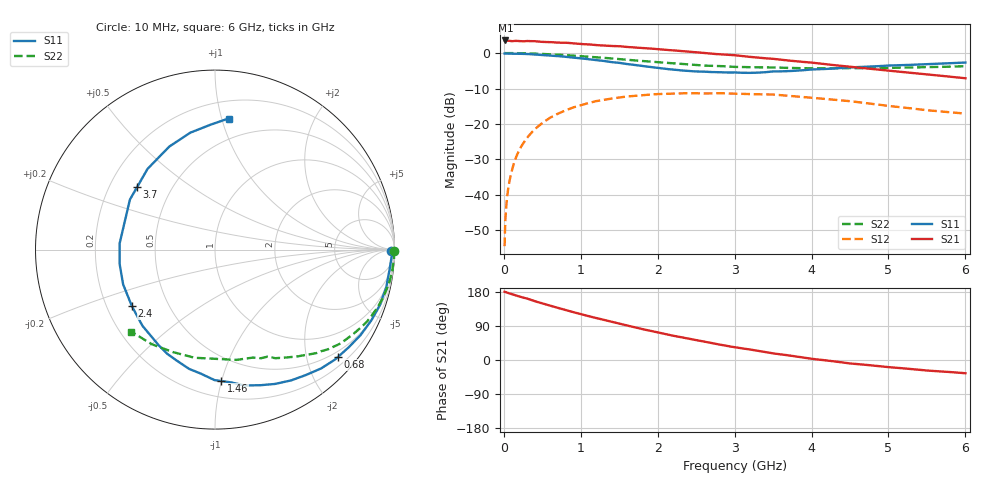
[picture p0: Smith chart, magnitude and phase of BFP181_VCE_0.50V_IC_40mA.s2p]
! Infineon Technologies  Discrete & RF Semiconductors
! BFP181
! VCE = 0.50V,  IC =  40 mA
! Common Emitter S-Parameters:  Jan 2016
# GHz  S  MA  R  50
!  f  S11  S21  S12  S22
! GHz  MAG  ANG  MAG  ANG  MAG  ANG  MAG  ANG
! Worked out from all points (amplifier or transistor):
!   210 points, 10 MHz to 6 GHz, reference 50 ohm
!   highest |S21| = 3.5 dB at 20 MHz (marker M1)
!   |S21| within 3 dB of that: start of sweep to 2.312 GHz
!   unconditionally stable (mu >= 1): 3.27 GHz to 3.488 GHz; 3.502 GHz to end of sweep
!   at 185 MHz: K = 0.07, MSG = 15.7 dB, |S12| = -28.0 dB
!   at 1.52 GHz: K = 0.55, MSG = 7.2 dB, |S12| = -12.5 dB
!   at 6 GHz: K = 1.73, MAG = 0.0 dB, |S12| = -17.1 dB
!   S11 on the Smith chart (normalised r, x): 10 MHz: 84, -51; 680 MHz: 0.38, -2.62; 1.46 GHz: 0.31, -1.00; 2.4 GHz: 0.31, -0.28; 3.7 GHz: 0.32, +0.32; 6 GHz: 0.33, +1.05
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0.01  0.9828 -0.6  1.482 179.9  0.0019 84.0  1 -0.3
0.015  0.9852 -0.9  1.492 179.7  0.0032 87.6  0.9979 -0.4
0.02  0.9877 -1.2  1.503 179.5  0.0045 89.1  0.9959 -0.6
0.04  0.9848 -2.3  1.501 177.9  0.0088 87.9  0.997 -1.3
0.075  0.9812 -4.5  1.482 175.6  0.016 86.2  0.9986 -2.5
0.13  0.9772 -8.0  1.476 172.1  0.0276 84.0  0.997 -4.3
0.2  0.9772 -12.2  1.477 167.6  0.0429 81.2  0.995 -6.6
0.4  0.9563 -24.3  1.468 155.3  0.0839 71.9  0.9814 -13.1
0.68  0.9096 -41.1  1.405 138.9  0.1358 59.6  0.9516 -21.9
0.8  0.8878 -48.2  1.4 132.0  0.1554 54.4  0.9368 -25.4
1.02  0.8378 -61.0  1.334 120.1  0.1867 45.5  0.9011 -31.6
1.46  0.733 -87.4  1.252 97.8  0.2328 29.3  0.8274 -42.7
1.7  0.6802 -102.2  1.2 86.5  0.2486 21.7  0.7866 -47.9
2.02  0.6134 -121.8  1.128 71.9  0.2643 13.0  0.7425 -53.5
2.4  0.5601 -145.8  1.047 56.3  0.2721 2.1  0.6924 -60.9
2.8  0.5373 -171.4  0.96 40.8  0.272 -6.9  0.657 -67.1
3.1  0.5265 170.9  0.905 30.8  0.2654 -13.6  0.6341 -72.3
3.7  0.5562 141.4  0.784 12.2  0.2493 -24.3  0.6168 -83.1
4.1  0.5906 126.5  0.712 1.0  0.2294 -31.1  0.6081 -91.7
4.5  0.6281 113.9  0.641 -9.1  0.2097 -37.2  0.6133 -100.7
5.1  0.6704 99.9  0.551 -20.4  0.1751 -41.1  0.6185 -114.6
6  0.7342 84.1  0.441 -34.9  0.1401 -38.3  0.6528 -135.5
